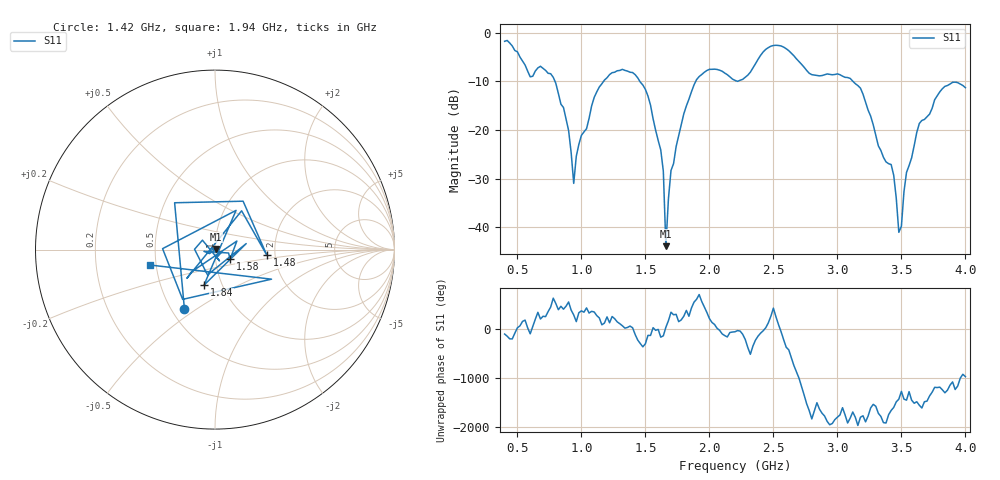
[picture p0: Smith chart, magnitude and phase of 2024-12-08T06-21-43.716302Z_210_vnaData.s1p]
!Created with skrf (http://scikit-rf.org).
# Hz S RI R 50.0
!freq ReS11 ImS11
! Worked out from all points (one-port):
!   181 points, 400 MHz to 4 GHz, reference 50 ohm
!   lowest |S11| = -43.9 dB at 1.66 GHz (marker M1), VSWR 1.01, Z = 50.6 + j0.325 ohm
!   |S11| at or under -10 dB: 794.1 MHz to 1.173 GHz (378.4 MHz wide, 38.5 % of centre); 1.457 GHz to 1.893 GHz (435.6 MHz wide, 26 % of centre); 3.123 GHz to end of sweep
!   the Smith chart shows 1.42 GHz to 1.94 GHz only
!   S11 on the Smith chart (normalised r, x): 1.42 GHz: 0.58, -0.45; 1.48 GHz: 1.81, -0.13; 1.58 GHz: 1.18, -0.13; 1.84 GHz: 0.82, -0.34; 1.94 GHz: 0.46, -0.09
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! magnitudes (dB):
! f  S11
! 400 MHz  -1.7
! 600 MHz  -9.0
! 760 MHz  -8.4
! 860 MHz  -15.4
! 900 MHz  -20.1
! 940 MHz  -31.0
! 980 MHz  -23.0
! 1.1 GHz  -13.3
! 1.3 GHz  -7.7
! 1.42 GHz  -8.6
! 1.48 GHz  -10.7
! 1.58 GHz  -20.0
! 1.64 GHz  -28.4
! 1.66 GHz  -43.9
! 1.7 GHz  -28.3
! 1.76 GHz  -21.2
! 1.84 GHz  -13.6
! 1.94 GHz  -8.6
! 2.2 GHz  -9.8
! 2.48 GHz  -2.7
! 2.66 GHz  -4.7
! 3.1 GHz  -9.4
! 3.42 GHz  -27.1
! 3.48 GHz  -41.1
! 3.56 GHz  -27.3
! 3.64 GHz  -18.6
! 3.8 GHz  -12.1
! 4 GHz  -11.3
